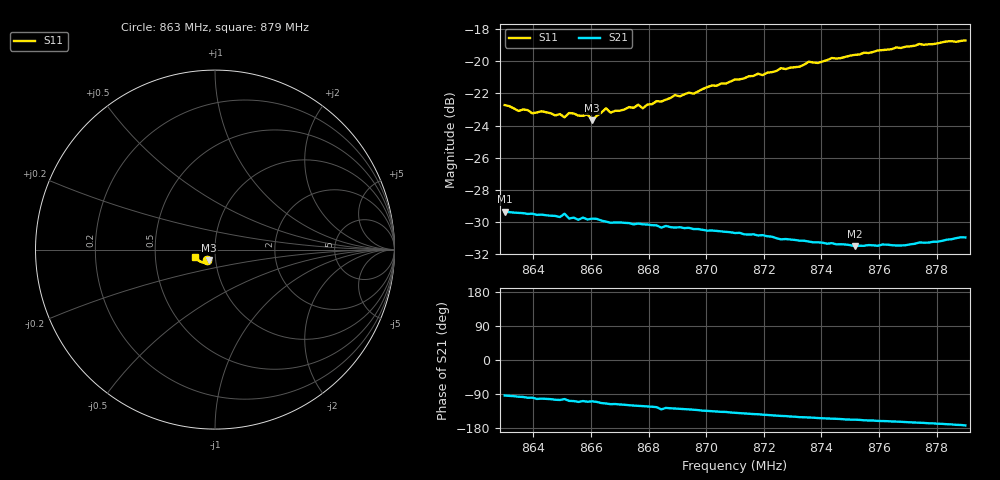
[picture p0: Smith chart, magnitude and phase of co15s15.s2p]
# HZ S RI R 50
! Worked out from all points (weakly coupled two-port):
!   101 points, 863 MHz to 879 MHz, reference 50 ohm
!   highest |S21| = -29.35 dB at 863 MHz (marker M1); lowest = -31.5 dB at 875.16 MHz (marker M2)
!   lowest |S11| = -23.7 dB at 866.04 MHz (marker M3), VSWR 1.14, Z = 46.6 - j5.34 ohm
!   |S11| at or under -10 dB: start of sweep to end of sweep
!   S12 and S22 are empty: the file has one direction only
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8.63e8  -0.0469 -0.0561  -0.00213 -0.034  0 0  0 0
8.6396e8  -0.0421 -0.0546  -0.00546 -0.0331  0 0  0 0
8.6428e8  -0.0415 -0.0562  -0.00687 -0.0326  0 0  0 0
8.6492e8  -0.0401 -0.0555  -0.00876 -0.0316  0 0  0 0
8.6508e8  -0.0342 -0.0576  -0.00761 -0.0327  0 0  0 0
8.6524e8  -0.0399 -0.0563  -0.00996 -0.0309  0 0  0 0
8.6556e8  -0.0383 -0.0559  -0.0113 -0.0301  0 0  0 0
8.6572e8  -0.036 -0.0573  -0.0103 -0.031  0 0  0 0
8.6588e8  -0.037 -0.0574  -0.0111 -0.0302  0 0  0 0
8.6604e8  -0.0323 -0.0571  -0.0106 -0.0306  0 0  0 0
8.6652e8  -0.0384 -0.0603  -0.0133 -0.0288  0 0  0 0
8.6668e8  -0.0352 -0.0596  -0.0141 -0.0282  0 0  0 0
8.6764e8  -0.0373 -0.0631  -0.0161 -0.0268  0 0  0 0
8.678e8  -0.0362 -0.0615  -0.0164 -0.0265  0 0  0 0
8.6844e8  -0.0374 -0.0649  -0.0197 -0.0232  0 0  0 0
8.6892e8  -0.0402 -0.0675  -0.0188 -0.0239  0 0  0 0
8.6956e8  -0.0414 -0.0676  -0.0198 -0.0226  0 0  0 0
8.71e8  -0.0496 -0.0724  -0.0222 -0.019  0 0  0 0
8.7372e8  -0.068 -0.0721  -0.0242 -0.0127  0 0  0 0
8.7516e8  -0.0804 -0.0671  -0.0246 -0.0102  0 0  0 0
8.7644e8  -0.0901 -0.0614  -0.0255 -0.00823  0 0  0 0
8.79e8  -0.1092 -0.0394  -0.0281 -0.00364  0 0  0 0
